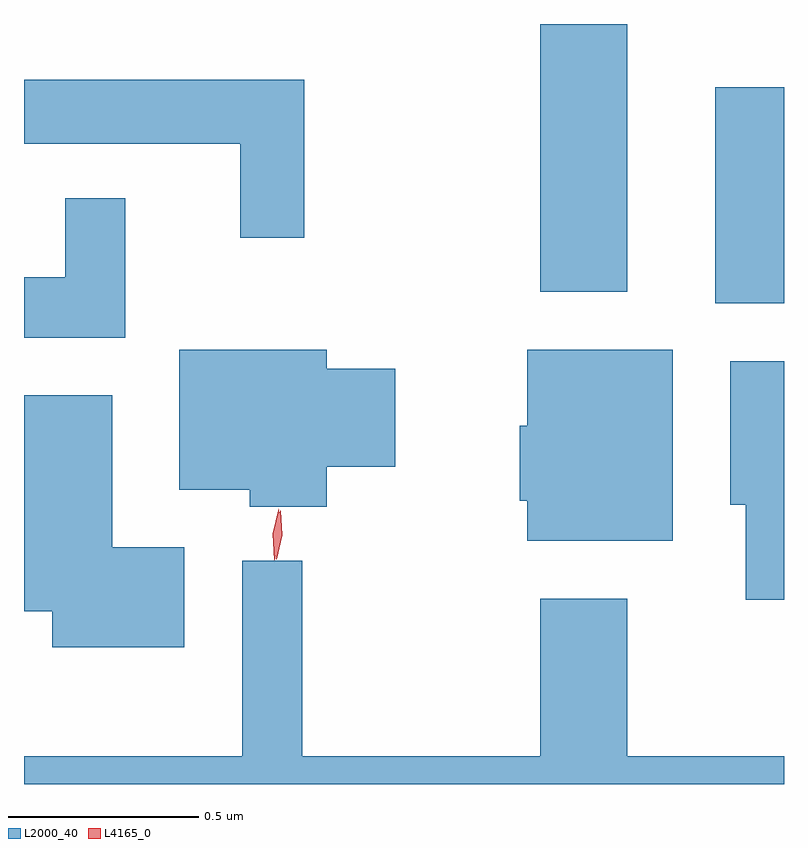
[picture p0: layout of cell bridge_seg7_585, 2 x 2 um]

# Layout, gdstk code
import gdstk
lib = gdstk.Library(unit=1e-6, precision=1e-09)
def R(c, l, rs):  # rectangles x0, y0, x1, y1
    for r in rs: c.add(gdstk.rectangle(r[:2], r[2:], *l))
def P(c, l, *ps):  # polygons
    for p in ps: c.add(gdstk.Polygon(p, *l))
L2000_40 = (2000, 40)
L4165_0 = (4165, 0)

bridge_seg7_585 = lib.new_cell('bridge_seg7_585')
R(bridge_seg7_585, L2000_40, [(979.091,1744.636,979.272,1745.204), (978.631,1744.666,978.859,1745.371)])
P(bridge_seg7_585, L2000_40, [(978.009,1745.224),(977.272,1745.224),(977.272,1745.056),(977.841,1745.056),(977.841,1744.808),(978.009,1744.808)],
  [(977.539,1744.913),(977.381,1744.913),(977.381,1744.704),(977.272,1744.704),(977.272,1744.546),(977.539,1744.546)],
  [(978.069,1744.206),(978.249,1744.206),(978.249,1744.464),(978.069,1744.464),(978.069,1744.514),(977.681,1744.514),(977.681,1744.146),(977.866,1744.146),(977.866,1744.101),(978.069,1744.101)],
  [(978.979,1744.514),(978.596,1744.514),(978.596,1744.314),(978.576,1744.314),(978.576,1744.116),(978.596,1744.116),(978.596,1744.011),(978.979,1744.011)],
  [(979.272,1744.484),(979.131,1744.484),(979.131,1744.106),(979.171,1744.106),(979.171,1743.856),(979.272,1743.856)],
  [(977.694,1743.994),(977.504,1743.994),(977.504,1744.394),(977.272,1744.394),(977.272,1743.826),(977.346,1743.826),(977.346,1743.731),(977.694,1743.731)],
  [(979.272,1743.444),(978.859,1743.444),(978.859,1743.859),(978.631,1743.859),(978.631,1743.444),(978.004,1743.444),(978.004,1743.958),(977.846,1743.958),(977.846,1743.444),(977.272,1743.444),(977.272,1743.371),(979.272,1743.371)])
P(bridge_seg7_585, L4165_0, [(977.931,1743.96),(977.931,1743.961),(977.927,1744.029),(977.942,1744.096),(977.943,1744.096),(977.943,1744.096),(977.947,1744.028),(977.932,1743.961)],
  [(977.936,1743.963),(977.936,1743.963),(977.932,1744.028),(977.946,1744.09),(977.947,1744.09),(977.947,1744.09),(977.951,1744.026),(977.937,1743.963)])

lib.write_gds('bridge_seg7_585.gds')
